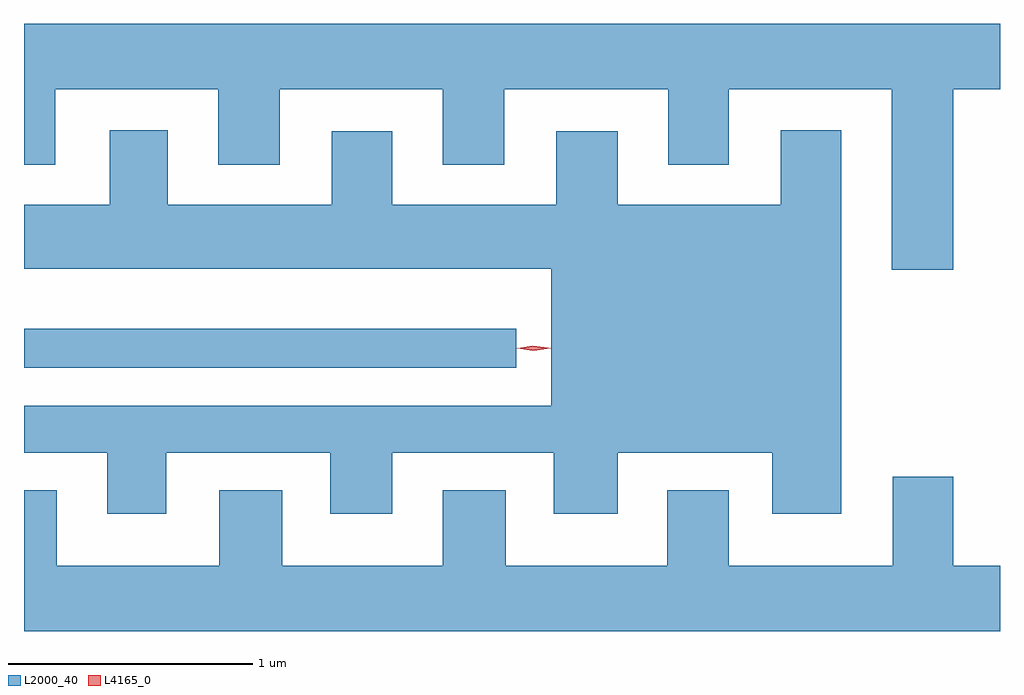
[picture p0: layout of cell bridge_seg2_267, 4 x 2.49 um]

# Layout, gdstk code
import gdstk
lib = gdstk.Library(unit=1e-6, precision=1e-09)
def R(c, l, rs):  # rectangles x0, y0, x1, y1
    for r in rs: c.add(gdstk.rectangle(r[:2], r[2:], *l))
def P(c, l, *ps):  # polygons
    for p in ps: c.add(gdstk.Polygon(p, *l))
L2000_40 = (2000, 40)
L4165_0 = (4165, 0)

bridge_seg2_267 = lib.new_cell('bridge_seg2_267')
R(bridge_seg2_267, L2000_40, [(636.64,1064.936,638.658,1065.094)])
P(bridge_seg2_267, L2000_40, [(640.449,1066.076),(640.64,1066.076),(640.64,1066.344),(636.64,1066.344),(636.64,1065.766),(636.769,1065.766),(636.769,1066.076),(637.436,1066.076),(637.436,1065.766),(637.689,1065.766),(637.689,1066.076),(638.356,1066.076),(638.356,1065.766),(638.609,1065.766),(638.609,1066.076),(639.281,1066.076),(639.281,1065.766),(639.529,1065.766),(639.529,1066.076),(640.196,1066.076),(640.196,1065.336),(640.449,1065.336)],
  [(637.224,1064.586),(637.896,1064.586),(637.896,1064.336),(638.149,1064.336),(638.149,1064.586),(638.811,1064.586),(638.811,1064.336),(639.074,1064.336),(639.074,1064.586),(639.706,1064.586),(639.706,1064.336),(639.989,1064.336),(639.989,1065.909),(639.741,1065.909),(639.741,1065.604),(639.074,1065.604),(639.074,1065.904),(638.821,1065.904),(638.821,1065.604),(638.149,1065.604),(638.149,1065.904),(637.901,1065.904),(637.901,1065.604),(637.229,1065.604),(637.229,1065.909),(636.991,1065.909),(636.991,1065.604),(636.64,1065.604),(636.64,1065.341),(638.801,1065.341),(638.801,1064.779),(636.64,1064.779),(636.64,1064.586),(636.981,1064.586),(636.981,1064.336),(637.224,1064.336)],
  [(640.64,1064.124),(640.449,1064.124),(640.449,1064.489),(640.201,1064.489),(640.201,1064.124),(639.529,1064.124),(639.529,1064.434),(639.276,1064.434),(639.276,1064.124),(638.614,1064.124),(638.614,1064.434),(638.356,1064.434),(638.356,1064.124),(637.699,1064.124),(637.699,1064.434),(637.441,1064.434),(637.441,1064.124),(636.774,1064.124),(636.774,1064.434),(636.64,1064.434),(636.64,1063.856),(640.64,1063.856)])
P(bridge_seg2_267, L4165_0, [(638.729,1065.004),(638.66,1065.014),(638.659,1065.014),(638.66,1065.014),(638.729,1065.024),(638.797,1065.014),(638.798,1065.014),(638.797,1065.014)],
  [(638.725,1065.005),(638.663,1065.014),(638.663,1065.015),(638.663,1065.015),(638.725,1065.025),(638.788,1065.016),(638.788,1065.015),(638.788,1065.015)])

lib.write_gds('bridge_seg2_267.gds')
